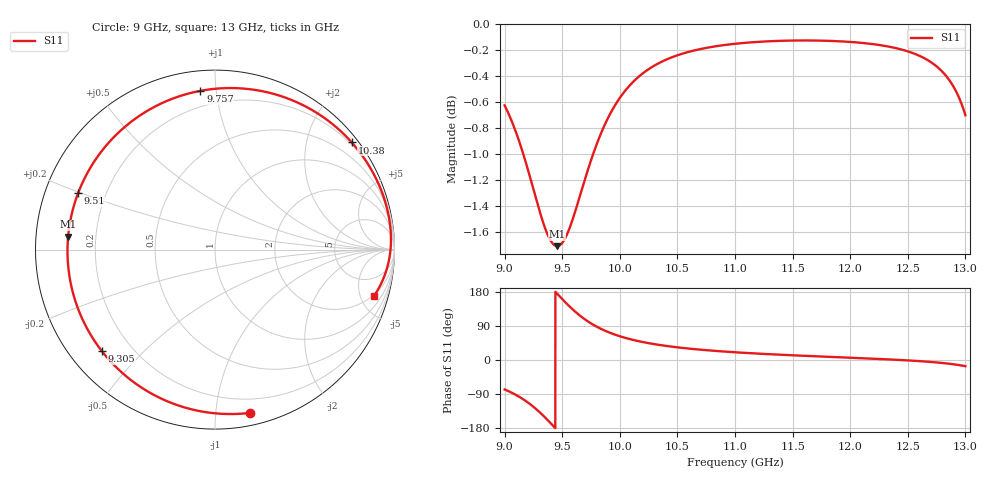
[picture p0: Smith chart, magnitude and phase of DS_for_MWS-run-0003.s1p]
! TOUCHSTONE file generated by CST DESIGN STUDIO
! Date and time: Tue Feb  4 18:12:19 2025
! Project name: C:\Work\MatlabApps\UnitCellOptimizationMatlab\CST\unitcell.cst
! Tree item: Tasks\Sweep1\SPara1\S-Parameters
! Header version: 2024
! Port assignment regex: !\s*Touchstone port\s*([0-9]+)\s*=\s*(CST MWS port|CST DES external port|CST DES block port)\s*(.+)\s* \(\"(.*)\"\)(\s*mode\s*([0-9]+))?.*
! Touchstone port assignment:
! Touchstone port 1 = CST DES external port 1 ("")
# GHz S MA R 50
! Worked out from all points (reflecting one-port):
!   4001 points, 9 GHz to 13 GHz, reference 50 ohm
!   lowest |S11| = -1.7 dB at 9.456 GHz (marker M1), VSWR 10.21, Z = 4.91 + j2.17 ohm
!   phase of S11 starts at -78 deg and turns -299 deg over the sweep
!   S11 on the Smith chart (normalised r, x): 9 GHz: 0.09, -1.24; 9.305 GHz: 0.09, -0.38; 9.51 GHz: 0.10, +0.20; 9.757 GHz: 0.11, +0.91; 10.38 GHz: 0.15, +2.89; 13 GHz: 1.84, -6.43
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9  0.9306 -77.8
9.029  0.9248 -81.6
9.095  0.9097 -91.6
9.171  0.8887 -105.5
9.24  0.8672 -120.9
9.305  0.8471 -138.0
9.347  0.8358 -150.3
9.385  0.8279 -162.1
9.421  0.8232 -173.6
9.456  0.8216 175.0
9.5  0.8239 160.8
9.51  0.8251 157.6
9.572  0.8367 138.8
9.63  0.852 123.0
9.691  0.8698 108.5
9.757  0.8883 95.3
9.876  0.9161 76.7
10  0.9368 62.7
10.171  0.9551 49.2
10.381  0.9681 38.1
10.5  0.9728 33.4
10.723  0.9786 26.6
11  0.9827 20.4
11.5  0.9855 12.4
12  0.9843 6.0
12.5  0.9761 -1.1
12.784  0.9603 -7.4
13  0.9225 -16.4
